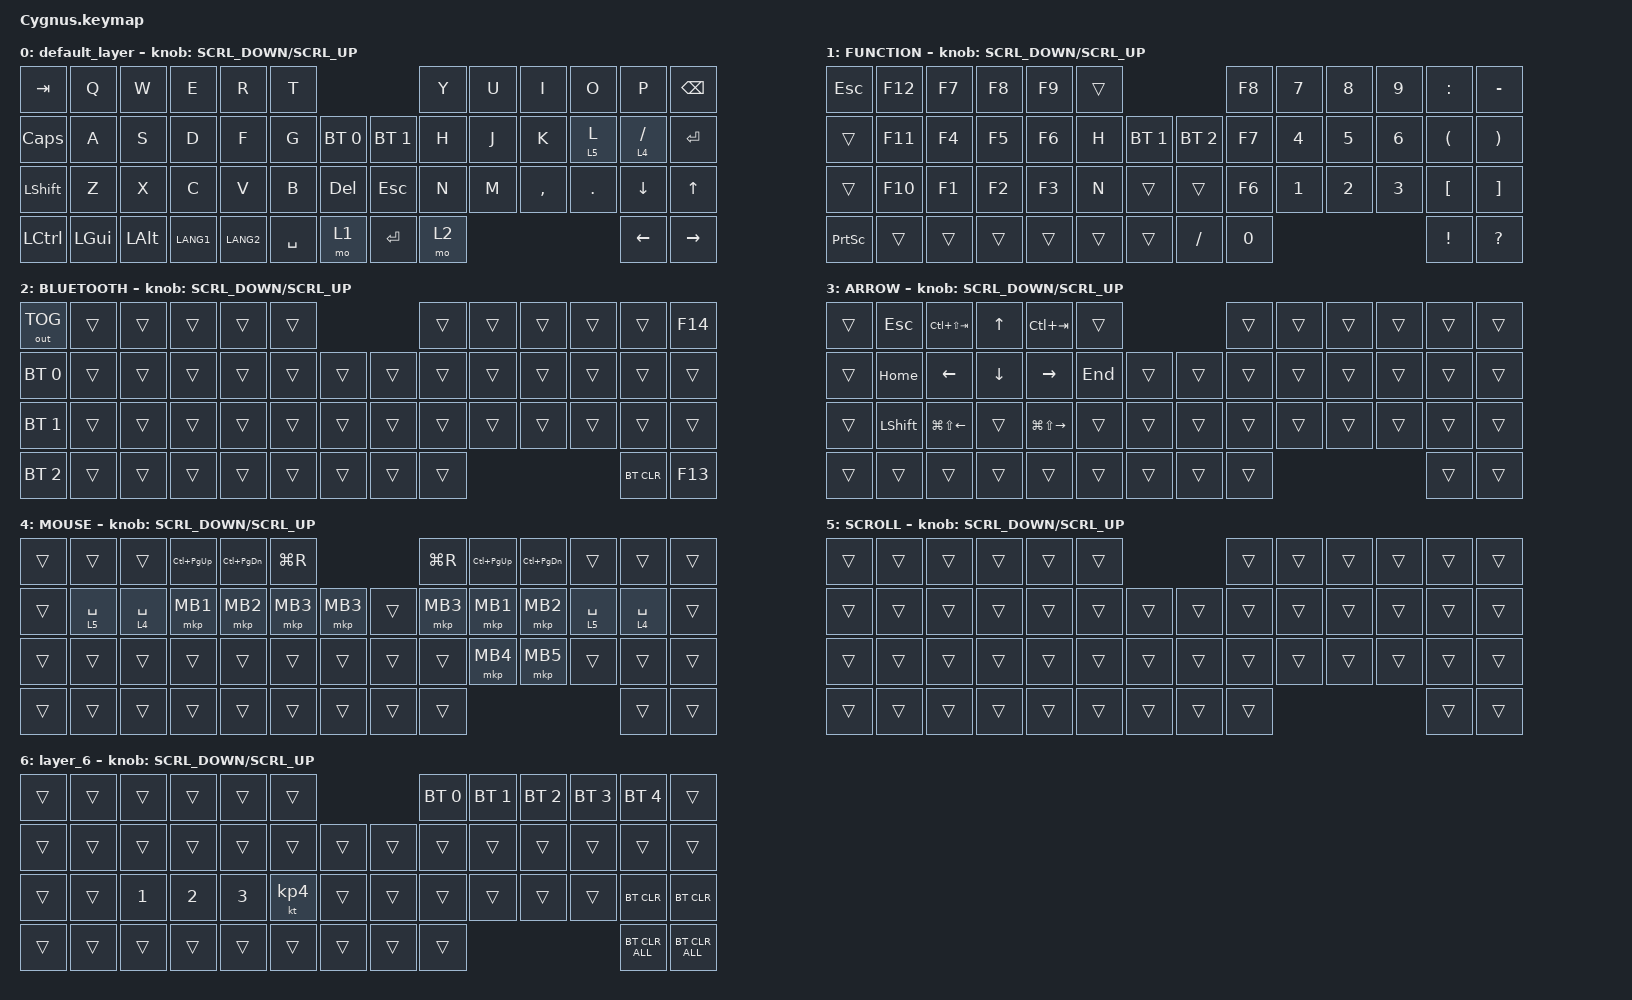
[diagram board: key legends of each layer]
#define ZMK_POINTING_DEFAULT_SCRL_VAL 120    // default: 10

#include <behaviors.dtsi>
#include <dt-bindings/zmk/bt.h>
#include <dt-bindings/zmk/keys.h>
#include <dt-bindings/zmk/outputs.h>
#include <dt-bindings/zmk/pointing.h>

#define MOUSE 4
#define SCROLL 5
#define NUM 6

&mt {
    flavor = "balanced";
    quick-tap-ms = <0>;
};

/ {
    combos {
        compatible = "zmk,combos";

        double_quotation {
            bindings = <&kp DOUBLE_QUOTES>;
            key-positions = <20 21>;
        };

        // J+K同時押し=左クリック。打鍵中(直前150ms以内にキー入力)は発動しない
        click_left {
            bindings = <&mkp MB1>;
            key-positions = <21 22>;
            require-prior-idle-ms = <150>;
        };

        // K+L同時押し=右クリック
        click_right {
            bindings = <&mkp MB2>;
            key-positions = <22 23>;
            require-prior-idle-ms = <150>;
        };
    };

    macros {
        to_layer_0: to_layer_0 {
            compatible = "zmk,behavior-macro-one-param";
            #binding-cells = <1>;
            bindings = <&to 0 &macro_param_1to1 &kp MACRO_PLACEHOLDER>;
            label = "TO_LAYER_0";
        };
    };

    behaviors {
        lt_to_layer_0: lt_to_layer_0 {
            compatible = "zmk,behavior-hold-tap";
            label = "LAYER_TAP_TO_0";
            bindings = <&mo>, <&to_layer_0>;

            #binding-cells = <2>;
            tapping-term-ms = <200>;
        };

        ROTATE: ROTATE {
            compatible = "zmk,behavior-sensor-rotate-var";
            label = "ROTATE";
            #sensor-binding-cells = <2>;
            bindings = <&msc>, <&msc>;

            tap-ms = <20>;
        };

        // 叩けばマウスボタン、長押しでレイヤー（左親指の右キー用: 長押し=レイヤー5 / 叩く=左クリック）
        lt_click: lt_click {
            compatible = "zmk,behavior-hold-tap";
            #binding-cells = <2>;
            display-name = "Layer-Click";
            bindings = <&mo>, <&mkp>;
            flavor = "balanced";
            tapping-term-ms = <200>;
        };
    };

    keymap {
        compatible = "zmk,keymap";

        default_layer {
            bindings = <
&kp TAB    &kp Q     &kp W     &kp E      &kp R      &kp T                                          &kp Y     &kp U  &kp I          &kp O          &kp P        &kp BSPC
&kp CAPS   &kp A     &kp S     &kp D      &kp F      &kp G    &bt BT_SEL 0        &bt BT_SEL 1      &kp H     &kp J  &kp K              &lt 5 L            &lt 4 FSLH   &kp ENTER
&kp LSHFT  &kp Z     &kp X     &kp C      &kp V      &kp B    &kp DELETE          &kp ESC           &kp N     &kp M  &kp COMMA          &kp DOT            &kp DOWN     &kp UP
&kp LCTRL  &kp LGUI  &kp LALT  &kp LANG1  &kp LANG2  &kp SPACE  &mo 1             &kp ENTER         &mo 2                                                 &kp LEFT     &kp RIGHT
            >;

            sensor-bindings = <&ROTATE SCRL_DOWN SCRL_UP>;
        };

        FUNCTION {
            bindings = <
&kp ESC    &kp F12  &kp F7  &kp F8  &kp F9  &trans                                &kp F8  &kp N7  &kp N8  &kp N9  &kp COLON  &kp MINUS
&trans     &kp F11  &kp F4  &kp F5  &kp F6  &kp H   &bt BT_SEL 1    &bt BT_SEL 2  &kp F7  &kp N4  &kp N5  &kp N6  &kp LPAR   &kp RPAR
&trans     &kp F10  &kp F1  &kp F2  &kp F3  &kp N   &trans          &trans        &kp F6  &kp N1  &kp N2  &kp N3  &kp LBKT   &kp RBKT
&kp PSCRN  &trans   &trans  &trans  &trans  &trans  &trans          &kp FSLH      &kp N0                          &kp EXCL   &kp QMARK
            >;

            sensor-bindings = <&ROTATE SCRL_DOWN SCRL_UP>;
        };

        BLUETOOTH {
            bindings = <
&out OUT_TOG  &trans  &trans  &trans  &trans  &trans                            &trans  &trans  &trans  &trans  &trans      &kp F14
&bt BT_SEL 0  &trans  &trans  &trans  &trans  &trans  &trans        &trans       &trans  &trans  &trans  &trans  &trans      &trans
&bt BT_SEL 1  &trans  &trans  &trans  &trans  &trans  &trans        &trans       &trans  &trans  &trans  &trans  &trans      &trans
&bt BT_SEL 2  &trans  &trans  &trans  &trans  &trans  &trans        &trans       &trans                          &bt BT_CLR  &kp F13
            >;

            sensor-bindings = <&ROTATE SCRL_DOWN SCRL_UP>;
        };

        ARROW {
            bindings = <
&trans  &kp ESCAPE      &kp LC(LS(TAB))         &kp UP_ARROW    &kp LC(TAB)              &trans                     &trans  &trans  &trans  &trans  &trans  &trans
&trans  &kp HOME        &kp LEFT_ARROW          &kp DOWN_ARROW  &kp RIGHT_ARROW          &kp END  &trans    &trans  &trans  &trans  &trans  &trans  &trans  &trans
&trans  &kp LEFT_SHIFT  &kp LG(LS(LEFT_ARROW))  &trans          &kp LG(LS(RIGHT_ARROW))  &trans   &trans    &trans  &trans  &trans  &trans  &trans  &trans  &trans
&trans  &trans          &trans                  &trans          &trans                   &trans   &trans    &trans  &trans                          &trans  &trans
            >;

            sensor-bindings = <&ROTATE SCRL_DOWN SCRL_UP>;
        };

        MOUSE {
            bindings = <
&trans  &trans       &trans       &kp LC(PAGE_UP)  &kp LC(PAGE_DOWN)  &kp LG(R)                      &kp LG(R)  &kp LC(PAGE_UP)  &kp LC(PAGE_DOWN)  &trans       &trans       &trans
&trans  &lt 5 SPACE  &lt 4 SPACE  &mkp MB1         &mkp MB2           &mkp MB3   &mkp MB3    &trans  &mkp MB3   &mkp MB1         &mkp MB2           &lt 5 SPACE  &lt 4 SPACE  &trans
&trans  &trans       &trans       &trans           &trans             &trans     &trans      &trans  &trans     &mkp MB4         &mkp MB5           &trans       &trans       &trans
&trans  &trans       &trans       &trans           &trans             &trans     &trans      &trans  &trans                                                      &trans       &trans
            >;

            sensor-bindings = <&ROTATE SCRL_DOWN SCRL_UP>;
        };

        SCROLL {
            bindings = <
&trans  &trans  &trans  &trans  &trans  &trans                    &trans  &trans  &trans  &trans  &trans  &trans
&trans  &trans  &trans  &trans  &trans  &trans  &trans    &trans  &trans  &trans  &trans  &trans  &trans  &trans
&trans  &trans  &trans  &trans  &trans  &trans  &trans    &trans  &trans  &trans  &trans  &trans  &trans  &trans
&trans  &trans  &trans  &trans  &trans  &trans  &trans    &trans  &trans                          &trans  &trans
            >;

            sensor-bindings = <&ROTATE SCRL_DOWN SCRL_UP>;
        };

        layer_6 {
            bindings = <
&trans  &trans  &trans        &trans        &trans        &trans                       &bt BT_SEL 0  &bt BT_SEL 1  &bt BT_SEL 2  &bt BT_SEL 3  &bt BT_SEL 4    &trans
&trans  &trans  &trans        &trans        &trans        &trans     &trans    &trans  &trans        &trans        &trans        &trans        &trans          &trans
&trans  &trans  &kp NUMBER_1  &kp NUMBER_2  &kp NUMBER_3  &kt KP_N4  &trans    &trans  &trans        &trans        &trans        &trans        &bt BT_CLR      &bt BT_CLR
&trans  &trans  &trans        &trans        &trans        &trans     &trans    &trans  &trans                                                  &bt BT_CLR_ALL  &bt BT_CLR_ALL
            >;

            sensor-bindings = <&ROTATE SCRL_DOWN SCRL_UP>;
        };
    };
};
